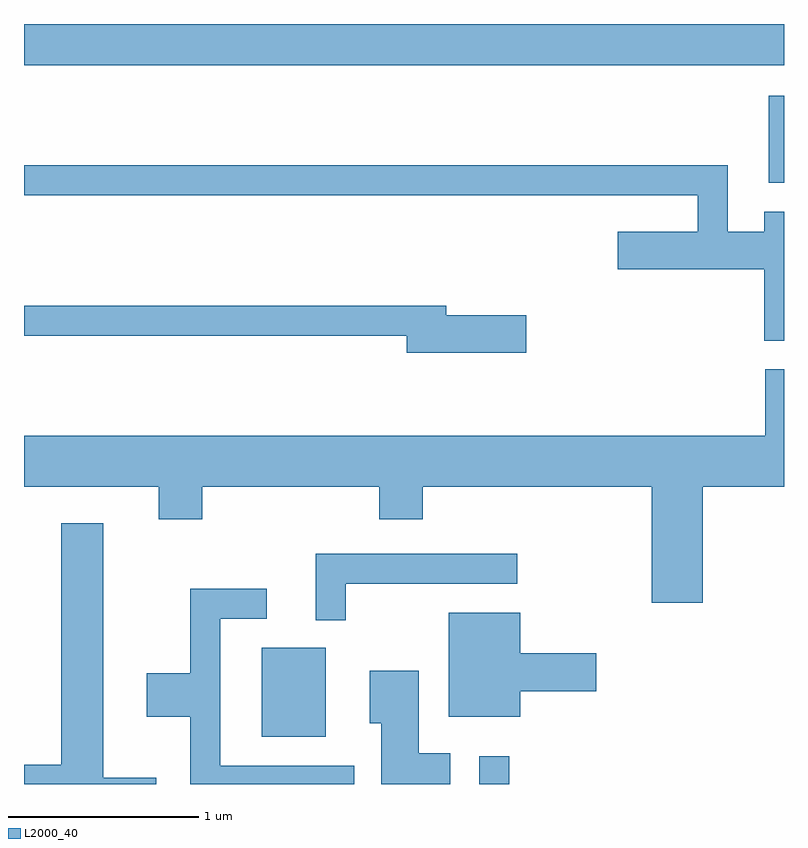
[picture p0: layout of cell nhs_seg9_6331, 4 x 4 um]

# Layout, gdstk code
import gdstk
lib = gdstk.Library(unit=1e-6, precision=1e-09)
def R(c, l, rs):  # rectangles x0, y0, x1, y1
    for r in rs: c.add(gdstk.rectangle(r[:2], r[2:], *l))
def P(c, l, *ps):  # polygons
    for p in ps: c.add(gdstk.Polygon(p, *l))
L2000_40 = (2000, 40)

nhs_seg9_6331 = lib.new_cell('nhs_seg9_6331')
R(nhs_seg9_6331, L2000_40, [(374.006,2032.432,374.164,2032.578), (372.861,2032.681,373.199,2033.149), (375.531,2035.596,375.611,2036.054), (371.611,2036.216,375.611,2036.432)])
P(nhs_seg9_6331, L2000_40, [(375.611,2035.444),(375.506,2035.444),(375.506,2035.339),(375.314,2035.339),(375.314,2035.689),(371.611,2035.689),(371.611,2035.531),(375.156,2035.531),(375.156,2035.339),(374.736,2035.339),(374.736,2035.141),(375.506,2035.141),(375.506,2034.766),(375.611,2034.766)],
  [(374.254,2034.899),(373.834,2034.899),(373.834,2034.949),(371.611,2034.949),(371.611,2034.791),(373.626,2034.791),(373.626,2034.701),(374.254,2034.701)],
  [(375.184,2033.996),(375.611,2033.996),(375.611,2034.614),(375.511,2034.614),(375.511,2034.264),(371.611,2034.264),(371.611,2033.996),(372.321,2033.996),(372.321,2033.826),(372.549,2033.826),(372.549,2033.996),(373.481,2033.996),(373.481,2033.826),(373.709,2033.826),(373.709,2033.996),(374.916,2033.996),(374.916,2033.386),(375.184,2033.386)],
  [(372.308,2032.464),(372.029,2032.464),(372.029,2033.804),(371.806,2033.804),(371.806,2032.534),(371.611,2032.534),(371.611,2032.432),(372.308,2032.432)],
  [(373.304,2033.486),(374.208,2033.486),(374.208,2033.644),(373.146,2033.644),(373.146,2033.293),(373.304,2033.293)],
  [(373.348,2032.529),(372.644,2032.529),(372.644,2033.301),(372.888,2033.301),(372.888,2033.459),(372.486,2033.459),(372.486,2033.014),(372.256,2033.014),(372.256,2032.786),(372.486,2032.786),(372.486,2032.432),(373.348,2032.432)],
  [(374.224,2032.921),(374.624,2032.921),(374.624,2033.119),(374.224,2033.119),(374.224,2033.334),(373.846,2033.334),(373.846,2032.786),(374.224,2032.786)],
  [(373.854,2032.594),(373.689,2032.594),(373.689,2033.029),(373.431,2033.029),(373.431,2032.751),(373.491,2032.751),(373.491,2032.432),(373.854,2032.432)])

lib.write_gds('nhs_seg9_6331.gds')
